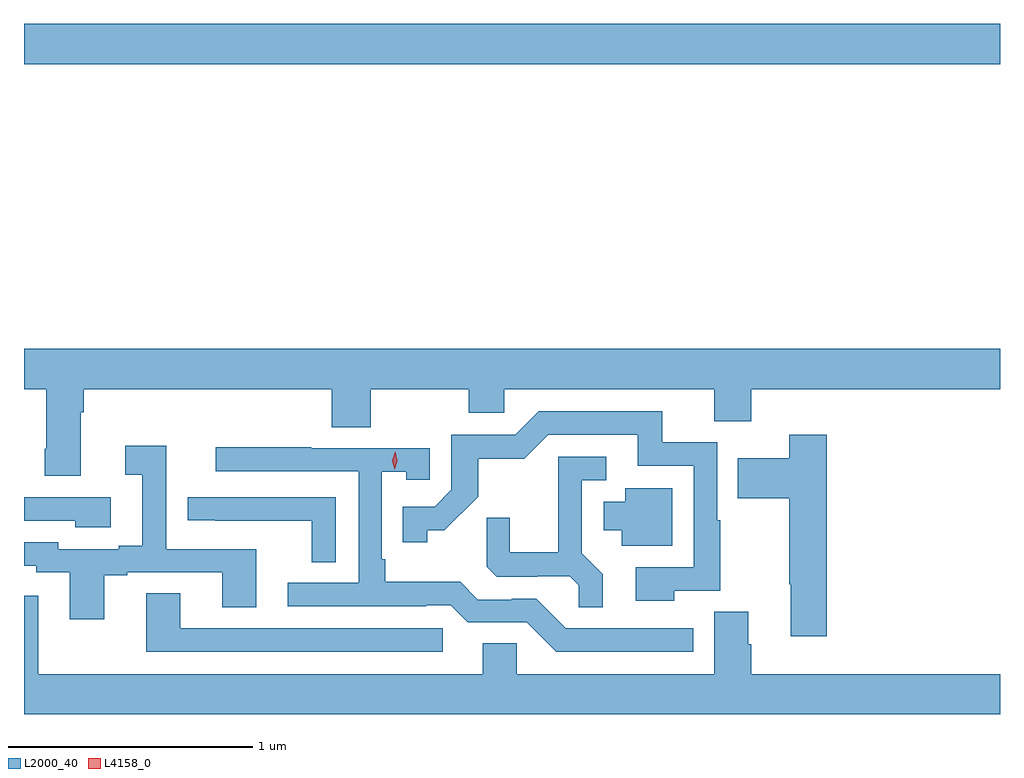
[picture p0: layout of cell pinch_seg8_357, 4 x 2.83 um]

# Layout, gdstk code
import gdstk
lib = gdstk.Library(unit=1e-6, precision=1e-09)
def R(c, l, rs):  # rectangles x0, y0, x1, y1
    for r in rs: c.add(gdstk.rectangle(r[:2], r[2:], *l))
def P(c, l, *ps):  # polygons
    for p in ps: c.add(gdstk.Polygon(p, *l))
L2000_40 = (2000, 40)
L4158_0 = (4158, 0)

pinch_seg8_357 = lib.new_cell('pinch_seg8_357')
R(pinch_seg8_357, L2000_40, [(471.231,1111.172,475.231,1111.336)])
P(pinch_seg8_357, L2000_40, [(471.463,1109.744),(471.476,1109.744),(471.476,1109.84),(472.493,1109.84),(472.493,1109.683),(472.653,1109.683),(472.653,1109.84),(473.053,1109.84),(473.053,1109.742),(473.199,1109.742),(473.199,1109.84),(474.059,1109.84),(474.059,1109.707),(474.212,1109.707),(474.212,1109.84),(475.231,1109.84),(475.231,1110.004),(471.231,1110.004),(471.231,1109.84),(471.323,1109.84),(471.323,1109.596),(471.316,1109.596),(471.316,1109.484),(471.463,1109.484)],
  [(473.895,1109.013),(474.085,1109.013),(474.085,1109.303),(474.072,1109.303),(474.072,1109.622),(473.846,1109.622),(473.846,1109.748),(473.34,1109.748),(473.244,1109.652),(472.983,1109.652),(472.983,1109.427),(472.914,1109.358),(472.783,1109.358),(472.783,1109.211),(472.884,1109.211),(472.884,1109.261),(472.954,1109.261),(473.092,1109.398),(473.092,1109.554),(473.281,1109.554),(473.379,1109.652),(473.747,1109.652),(473.747,1109.526),(473.976,1109.526),(473.976,1109.109),(473.739,1109.109),(473.739,1108.973),(473.895,1108.973)],
  [(474.521,1109.653),(474.367,1109.653),(474.367,1109.557),(474.157,1109.557),(474.157,1109.392),(474.367,1109.392),(474.367,1109.039),(474.374,1109.039),(474.374,1108.827),(474.521,1108.827)],
  [(471.559,1109.076),(471.655,1109.076),(471.655,1109.088),(472.043,1109.088),(472.043,1108.945),(472.183,1108.945),(472.183,1109.184),(471.813,1109.184),(471.813,1109.608),(471.645,1109.608),(471.645,1109.488),(471.716,1109.488),(471.716,1109.197),(471.62,1109.197),(471.62,1109.184),(471.372,1109.184),(471.372,1109.211),(471.231,1109.211),(471.231,1109.115),(471.282,1109.115),(471.282,1109.088),(471.419,1109.088),(471.419,1108.896),(471.559,1108.896)],
  [(473.974,1108.86),(473.451,1108.86),(473.331,1108.98),(473.23,1108.98),(473.23,1108.977),(473.091,1108.977),(473.018,1109.05),(472.711,1109.05),(472.711,1109.143),(472.698,1109.143),(472.698,1109.501),(472.797,1109.501),(472.797,1109.469),(472.893,1109.469),(472.893,1109.598),(472.409,1109.598),(472.409,1109.601),(472.017,1109.601),(472.017,1109.502),(472.602,1109.502),(472.602,1109.046),(472.311,1109.046),(472.311,1108.95),(472.88,1108.95),(472.88,1108.953),(472.98,1108.953),(473.049,1108.884),(473.292,1108.884),(473.412,1108.764),(473.974,1108.764)],
  [(473.603,1109.081),(473.517,1109.167),(473.517,1109.466),(473.617,1109.466),(473.617,1109.562),(473.42,1109.562),(473.42,1109.17),(473.222,1109.17),(473.222,1109.313),(473.128,1109.313),(473.128,1109.111),(473.169,1109.07),(473.334,1109.07),(473.334,1109.073),(473.468,1109.073),(473.505,1109.036),(473.505,1108.945),(473.603,1108.945)],
  [(473.887,1109.434),(473.696,1109.434),(473.696,1109.377),(473.606,1109.377),(473.606,1109.261),(473.681,1109.261),(473.681,1109.198),(473.887,1109.198)],
  [(471.586,1109.397),(471.231,1109.397),(471.231,1109.301),(471.441,1109.301),(471.441,1109.273),(471.586,1109.273)],
  [(472.509,1109.397),(471.903,1109.397),(471.903,1109.302),(472.015,1109.302),(472.015,1109.301),(472.411,1109.301),(472.411,1109.131),(472.509,1109.131)],
  [(472.948,1108.86),(471.871,1108.86),(471.871,1109.003),(471.731,1109.003),(471.731,1108.764),(472.948,1108.764)],
  [(475.231,1108.672),(474.212,1108.672),(474.212,1108.794),(474.199,1108.794),(474.199,1108.928),(474.059,1108.928),(474.059,1108.672),(473.25,1108.672),(473.25,1108.799),(473.111,1108.799),(473.111,1108.672),(471.289,1108.672),(471.289,1108.993),(471.231,1108.993),(471.231,1108.508),(475.231,1108.508)])
P(pinch_seg8_357, L4158_0, [(472.75,1109.511),(472.741,1109.547),(472.752,1109.583),(472.752,1109.583),(472.752,1109.583),(472.761,1109.547),(472.751,1109.511),(472.751,1109.511)])

lib.write_gds('pinch_seg8_357.gds')
